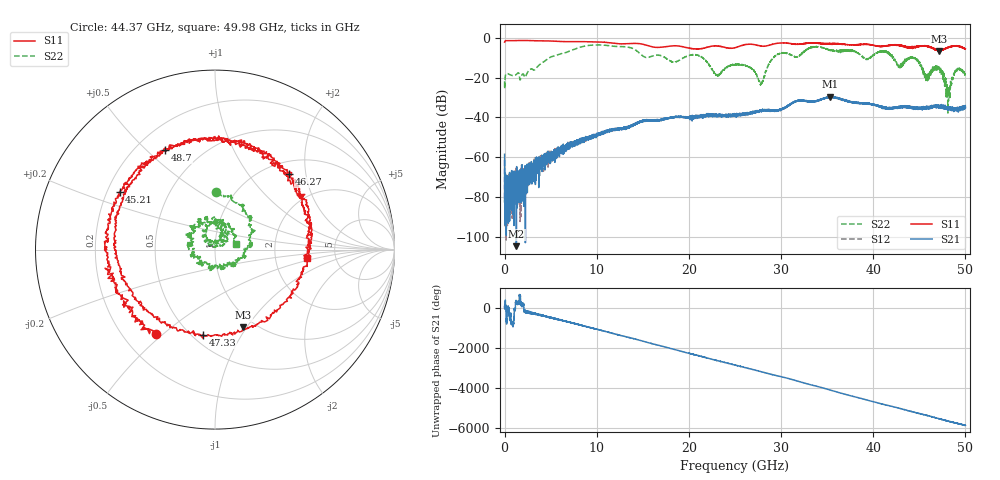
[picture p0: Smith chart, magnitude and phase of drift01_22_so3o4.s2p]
!Created with skrf (http://scikit-rf.org).
# Hz S RI R 50.0
!freq ReS11 ImS11 ReS21 ImS21 ReS12 ImS12 ReS22 ImS22
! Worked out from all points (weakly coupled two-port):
!   10001 points, 300 kHz to 50 GHz, reference 50 ohm
!   highest |S21| = -29.61 dB at 35.34 GHz (marker M1); lowest = -104.7 dB at 1.275 GHz (marker M2)
!   lowest |S11| = -6.7 dB at 47.15 GHz (marker M3), VSWR 2.71, Z = 43.9 - j48.3 ohm
!   |S11| at or under -10 dB: nowhere
!   |S22| runs from -37.8 to -3.6 dB; largest |S21 - S12| = 0.0044
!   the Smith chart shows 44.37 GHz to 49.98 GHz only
!   S11 on the Smith chart (normalised r, x): 44.37 GHz: 0.34, -0.47; 45.21 GHz: 0.25, +0.26; 46.27 GHz: 1.25, +1.61; 47.33 GHz: 0.57, -0.70; 48.7 GHz: 0.32, +0.57; 49.98 GHz: 3.07, -0.38
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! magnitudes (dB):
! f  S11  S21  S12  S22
! 300 kHz  -2.2  -58.6  -61.6  -21.9
! 255.3 MHz  -1.4  -69.8  -76.0  -18.0
! 1.275 GHz  -1.4  -104.7  -71.9  -18.4
! 8.335 GHz  -1.9  -50.6  -50.7  -4.5
! 16.67 GHz  -4.8  -41.5  -41.5  -8.7
! 20.96 GHz  -5.6  -40.0  -39.7  -8.7
! 23.07 GHz  -4.1  -38.7  -38.7  -18.6
! 25 GHz  -5.0  -38.7  -38.8  -13.6
! 27.84 GHz  -4.2  -36.6  -36.7  -22.8
! 29.48 GHz  -2.9  -36.6  -36.6  -8.8
! 33.34 GHz  -2.6  -32.1  -32.0  -4.8
! 35.34 GHz  -3.3  -29.6  -29.8  -6.2
! 41.67 GHz  -3.8  -35.6  -35.5  -7.8
! 44.37 GHz  -4.8  -35.5  -35.4  -9.8
! 45.21 GHz  -4.1  -35.6  -35.5  -13.9
! 46.27 GHz  -4.6  -34.7  -34.9  -17.3
! 47.15 GHz  -6.7  -34.4  -34.5  -14.9
! 47.33 GHz  -6.4  -34.5  -34.1  -15.5
! 48.13 GHz  -4.9  -35.0  -35.0  -33.6
! 48.7 GHz  -4.2  -36.2  -35.7  -18.7
! 49.98 GHz  -5.8  -35.1  -35.1  -18.4
! 50 GHz  -5.6  -35.2  -35.0  -18.5
